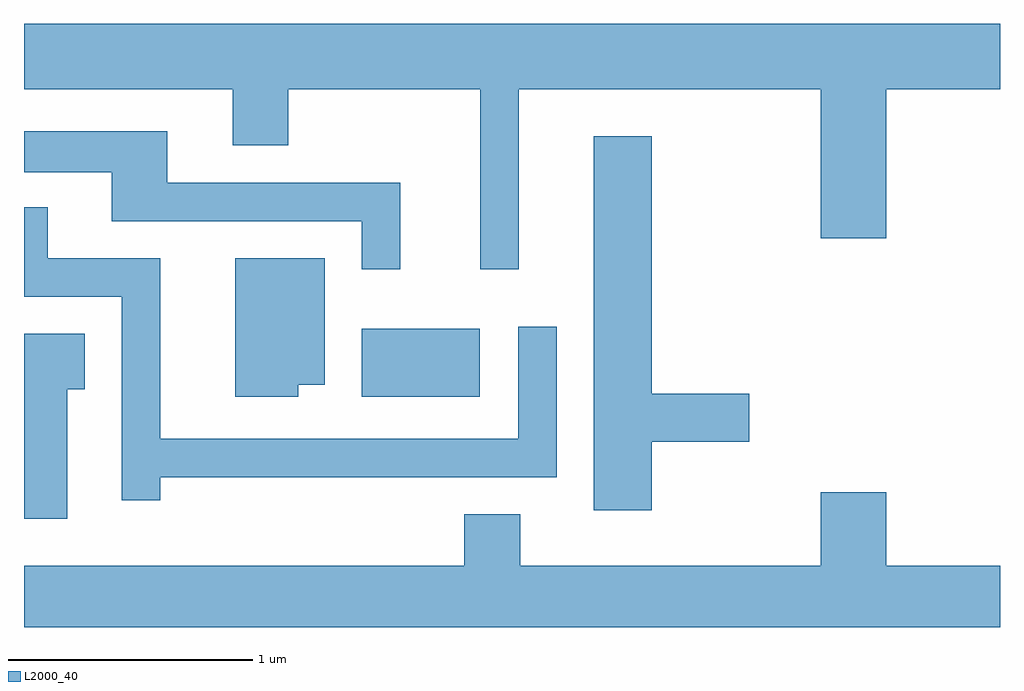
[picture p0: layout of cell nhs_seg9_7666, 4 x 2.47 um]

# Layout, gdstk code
import gdstk
lib = gdstk.Library(unit=1e-6, precision=1e-09)
def R(c, l, rs):  # rectangles x0, y0, x1, y1
    for r in rs: c.add(gdstk.rectangle(r[:2], r[2:], *l))
def P(c, l, *ps):  # polygons
    for p in ps: c.add(gdstk.Polygon(p, *l))
L2000_40 = (2000, 40)

nhs_seg9_7666 = lib.new_cell('nhs_seg9_7666')
R(nhs_seg9_7666, L2000_40, [(412.996,2059.376,413.479,2059.654)])
P(nhs_seg9_7666, L2000_40, [(413.639,2060.636),(414.876,2060.636),(414.876,2060.026),(415.144,2060.026),(415.144,2060.636),(415.611,2060.636),(415.611,2060.904),(411.611,2060.904),(411.611,2060.636),(412.466,2060.636),(412.466,2060.406),(412.694,2060.406),(412.694,2060.636),(413.481,2060.636),(413.481,2059.898),(413.639,2059.898)],
  [(413.154,2060.254),(412.199,2060.254),(412.199,2060.464),(411.611,2060.464),(411.611,2060.296),(411.971,2060.296),(411.971,2060.096),(412.996,2060.096),(412.996,2059.898),(413.154,2059.898)],
  [(414.184,2059.191),(414.584,2059.191),(414.584,2059.389),(414.184,2059.389),(414.184,2060.444),(413.946,2060.444),(413.946,2058.911),(414.184,2058.911)],
  [(412.169,2059.046),(413.794,2059.046),(413.794,2059.663),(413.636,2059.663),(413.636,2059.204),(412.169,2059.204),(412.169,2059.944),(411.709,2059.944),(411.709,2060.153),(411.611,2060.153),(411.611,2059.786),(412.011,2059.786),(412.011,2058.952),(412.169,2058.952)],
  [(412.734,2059.426),(412.844,2059.426),(412.844,2059.944),(412.476,2059.944),(412.476,2059.376),(412.734,2059.376)],
  [(411.789,2059.406),(411.859,2059.406),(411.859,2059.634),(411.611,2059.634),(411.611,2058.876),(411.789,2058.876)],
  [(415.611,2058.684),(415.144,2058.684),(415.144,2058.984),(414.876,2058.984),(414.876,2058.684),(413.644,2058.684),(413.644,2058.894),(413.416,2058.894),(413.416,2058.684),(411.611,2058.684),(411.611,2058.432),(415.611,2058.432)])

lib.write_gds('nhs_seg9_7666.gds')
